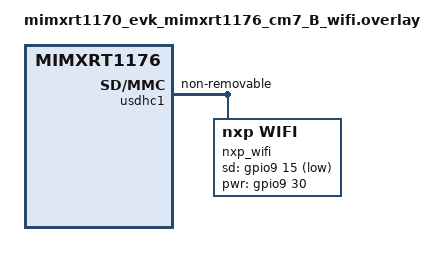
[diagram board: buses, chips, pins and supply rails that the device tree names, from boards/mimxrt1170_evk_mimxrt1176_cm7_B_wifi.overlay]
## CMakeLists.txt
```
# SPDX-FileCopyrightText: Copyright (c) 2026 Meta Platforms, Inc.
# SPDX-License-Identifier: Apache-2.0
cmake_minimum_required(VERSION 3.20.0)

find_package(Zephyr REQUIRED HINTS $ENV{ZEPHYR_BASE})
project(zephyrtc LANGUAGES C)

zephyr_include_directories(
  "${CMAKE_CURRENT_SOURCE_DIR}/config"
  "${CMAKE_CURRENT_SOURCE_DIR}/src"
)

target_sources(app PRIVATE
  src/main.c
  src/platform_zephyr.c
  src/fault_trace_zephyr.c
  src/libpeer_transport_probe.c
  src/libpeer_endpoint.c
)

if(CONFIG_ZEPHYRTC_AUDIO_RT1170)
  set(MCUX_TEMPSENSOR_DIR
      "${ZEPHYR_HAL_NXP_MODULE_DIR}/mcux/mcux-sdk-ng/drivers/tempsensor")
  set(MCUX_RT1170_POWER_DIR
      "${ZEPHYR_HAL_NXP_MODULE_DIR}/mcux/mcux-sdk-ng/devices/RT/RT1170/MIMXRT1176/drivers/power")
  target_include_directories(app PRIVATE
    "${MCUX_TEMPSENSOR_DIR}"
    "${MCUX_RT1170_POWER_DIR}"
  )
  target_sources(app PRIVATE
    src/media_rt1170_zephyr.c
    "${MCUX_TEMPSENSOR_DIR}/fsl_tempsensor.c"
    "${MCUX_RT1170_POWER_DIR}/fsl_soc_src.c"
  )
  # The SDK drivers do not build cleanly with the sample's warning flags.
  set_source_files_properties(
    "${MCUX_TEMPSENSOR_DIR}/fsl_tempsensor.c"
    "${MCUX_RT1170_POWER_DIR}/fsl_soc_src.c"
    PROPERTIES COMPILE_OPTIONS "-Wno-error"
  )
else()
  target_sources(app PRIVATE src/media_synthetic_zephyr.c)
endif()

target_sources_ifdef(CONFIG_ZEPHYRTC_MODE_LOOPBACK app PRIVATE
  src/libpeer_loopback.c
)
target_sources_ifdef(CONFIG_ZEPHYRTC_SIGNALING_CLIENT app PRIVATE
  src/signaling_client_zephyr.c
  src/libpeer_offerer.c
)
target_sources_ifdef(CONFIG_ZEPHYRTC_MODE_HTTP_SIGNALING app PRIVATE
  src/signaling_test_server.c
  src/signaling_tests.c
)
target_sources_ifdef(CONFIG_ZEPHYRTC_MODE_EXTERNAL app PRIVATE
  src/libpeer_external.c
)

if(CONFIG_ZEPHYRTC_VIDEO_H264)
  target_sources(app PRIVATE
    src/video_codec_zephyr.c
    src/video_color_zephyr.c
  )
  set_source_files_properties(src/video_codec_zephyr.c PROPERTIES
    COMPILE_OPTIONS "-Wno-unused-function;-Wno-sign-compare;-Wno-strict-prototypes"
  )
endif()

target_compile_options(app PRIVATE
  -Wall
  -Wextra
  -Wformat=2
  -Wmissing-prototypes
  -Wstrict-prototypes
  -Werror=implicit-function-declaration
  -Werror=incompatible-pointer-types
  -Werror=return-type
)
```

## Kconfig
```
# SPDX-FileCopyrightText: Copyright (c) 2026 Meta Platforms, Inc.
# SPDX-License-Identifier: Apache-2.0

mainmenu "zephyrtc"

# The decoder only has to accept the 320x240 stream the sample negotiates.
if ZEPHYRTC_VIDEO_H264

config H264SWDEC_HEAP_SIZE
	default 393216

config H264SWDEC_MAX_FRAME_WIDTH
	default 320

config H264SWDEC_MAX_FRAME_HEIGHT
	default 240

config H264SWDEC_MAX_FRAME_SIZE
	default 76800

endif # ZEPHYRTC_VIDEO_H264

source "Kconfig.zephyr"

menu "zephyrtc"

config ZEPHYRTC_TRANSPORT
	bool
	default y
	select LIBPEER
	help
	  Build libpeer and libsrtp against Zephyr's Mbed TLS integration and
	  run a bounded cryptographic initialization probe.

choice ZEPHYRTC_DEMO_MODE
	prompt "libpeer endpoint mode"
	default ZEPHYRTC_MODE_LOOPBACK
	help
	  Select the loopback, signaling-test, or external endpoint mode.

config ZEPHYRTC_MODE_LOOPBACK
	bool "In-process two-peer loopback"
	help
	  Two PeerConnections in one image exchange SDP directly, then complete host
	  ICE, DTLS-SRTP, and bidirectional PCMU RTP. This is the default gate.

config ZEPHYRTC_MODE_HTTP_SIGNALING
	bool "HTTP signaling client against an in-process mock answerer"
	depends on NET_SOCKETS && NET_TCP && NET_IPV4
	select ZEPHYRTC_SIGNALING_CLIENT
	help
	  Run the signaling failure matrix, then drive one PeerConnection as SDP
	  offerer through POST /offer to an in-process mock answerer over Zephyr
	  loopback TCP, and require the same ICE, DTLS-SRTP, and PCMU RTP result.

config ZEPHYRTC_MODE_EXTERNAL
	bool "External HTTP answerer"
	depends on NET_SOCKETS && NET_TCP && NET_UDP && NET_IPV4
	select ZEPHYRTC_SIGNALING_CLIENT
	help
	  POST one complete PCMU-only or H.264/PCMU offer to an external answerer,
	  apply the answer, complete ICE and DTLS-SRTP, then send the configured
	  bounded media sources and require sustained received media.

endchoice

config ZEPHYRTC_AUDIO_RT1170
	bool "RT1170 DMIC and WM8962 PCMU audio"
	depends on ZEPHYRTC_MODE_EXTERNAL
	depends on BOARD_MIMXRT1170_EVK_MIMXRT1176_CM7 && BOARD_REVISION_B
	depends on I2S && AUDIO_CODEC && AUDIO_DMIC
	help
	  Capture 16 kHz stereo samples from the RT1170 DMIC, downsample and encode
	  them as 8 kHz mono PCMU, and decode remote PCMU to the WM8962 playback path.

config ZEPHYRTC_VIDEO_H264
	bool "Software H.264 video with MiniH264 and H264SwDec"
	depends on ZEPHYRTC_MODE_EXTERNAL
	depends on !ZEPHYRTC_AUDIO_RT1170 || (VIDEO && DISPLAY)
	select MINIH264
	select H264SWDEC
	help
	  Enable 320x240 all-IDR MiniH264 and H264SwDec video. Synthetic media is used
	  for software gates; the RT1170 audio configuration uses the chosen camera
	  and display. Codec memory uses bounded static storage and a dedicated heap.

config ZEPHYRTC_DISPLAY_ROTATION
	int "Decoded-video display rotation in clockwise degrees"
	depends on ZEPHYRTC_VIDEO_H264 && ZEPHYRTC_AUDIO_RT1170
	range 0 270
	default 0
	help
	  Rotate decoded video clockwise before display. Valid values are 0, 90,
	  180, and 270 degrees. Other values fail at compile time.

config ZEPHYRTC_DISPLAY_SCALE
	int "Decoded-video integer display scale"
	depends on ZEPHYRTC_VIDEO_H264 && ZEPHYRTC_AUDIO_RT1170
	range 1 3
	default 1
	help
	  Upscale decoded video by this integer factor using nearest-neighbor
	  replication. The transformed image must fit the active display.

config ZEPHYRTC_SIGNALING_CLIENT
	bool
	help
	  Build the Zephyr socket client that POSTs one complete SDP offer and
	  validates one bounded complete SDP answer, and the libpeer offerer that
	  uses it. Select it from an application mode that needs an external peer.

config ZEPHYRTC_SIGNALING_TIMEOUT_MS
	int "Default total signaling deadline in milliseconds"
	depends on ZEPHYRTC_SIGNALING_CLIENT
	range 100 120000
	default 25000
	help
	  Covers connect, request write, and response read for one offer exchange.
	  Callers may pass a shorter deadline per request.

config ZEPHYRTC_SIGNALING_URL
	string "External SDP answerer URL"
	depends on ZEPHYRTC_MODE_EXTERNAL
	default "http://127.77.0.1:18080/offer"
	help
	  Complete HTTP URL accepted by the bounded signaling client. Only a dotted
	  IPv4 literal or localhost is supported; TLS and DNS are intentionally out
	  of scope for the bring-up endpoint.

config ZEPHYRTC_NETWORK_TIMEOUT_MS
	int "Network readiness deadline in milliseconds"
	depends on ZEPHYRTC_MODE_EXTERNAL
	range 1000 120000
	default 30000
	help
	  Wait this long for the default interface to acquire a preferred IPv4
	  address before creating the PeerConnection and gathering a host candidate.

config ZEPHYRTC_WIFI_SSID
	string "Wi-Fi station SSID"
	depends on ZEPHYRTC_MODE_EXTERNAL && WIFI
	default ""
	help
	  SSID used to associate the Wi-Fi station. Set this only from a private
	  EXTRA_CONF_FILE outside the source tree, such as the one
	  tools/rt1170_demo.py generates.

config ZEPHYRTC_WIFI_PASSWORD
	string "Wi-Fi station password"
	depends on ZEPHYRTC_MODE_EXTERNAL && WIFI
	default ""
	help
	  WPA2-PSK password for the Wi-Fi station. An empty value selects an open
	  network. Set this only from a private EXTRA_CONF_FILE outside the source
	  tree, such as the one tools/rt1170_demo.py generates.

config ZEPHYRTC_EXTERNAL_RUN_MS
	int "External connected-media validation time in milliseconds"
	depends on ZEPHYRTC_MODE_EXTERNAL
	range 5000 86400000
	default 12000
	help
	  Run external media validation for this connected interval. The maximum
	  supports soak tests lasting up to 24 hours.

config ZEPHYRTC_DEMO_RUN_MS
	int "native_sim synthetic media run time in milliseconds"
	range 4200 60000
	default 4200
	help
	  Run long enough to generate beeps beginning at 0, 2, and 4 seconds.

endmenu
```

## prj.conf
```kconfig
# SPDX-FileCopyrightText: Copyright (c) 2026 Meta Platforms, Inc.
# SPDX-License-Identifier: Apache-2.0

CONFIG_ASSERT=y
CONFIG_CONSOLE=y
CONFIG_LOG=y
CONFIG_LOG_DEFAULT_LEVEL=3
CONFIG_MAIN_STACK_SIZE=16384
CONFIG_PRINTK=y
CONFIG_REBOOT=n
CONFIG_TIMESLICING=n

CONFIG_HEAP_MEM_POOL_SIZE=32768
CONFIG_COMMON_LIBC_MALLOC_ARENA_SIZE=98304

CONFIG_NETWORKING=y
CONFIG_NET_DRIVERS=y
CONFIG_NET_IPV4=y
CONFIG_NET_LOOPBACK=y
CONFIG_NET_SOCKETS=y
CONFIG_NET_TCP=y
CONFIG_NET_UDP=y
CONFIG_POSIX_API=y

# native_sim-only entropy is configured in boards/native_sim_native_64.conf.

CONFIG_PSA_CRYPTO=y
CONFIG_PSA_WANT_ALG_ECDH=y
CONFIG_PSA_WANT_ALG_ECDSA=y
CONFIG_PSA_WANT_ALG_HMAC=y
CONFIG_PSA_WANT_ALG_SHA_1=y
CONFIG_PSA_WANT_ALG_SHA_256=y
CONFIG_PSA_WANT_ECC_SECP_R1_256=y
CONFIG_PSA_WANT_KEY_TYPE_ECC_KEY_PAIR_GENERATE=y
CONFIG_PSA_WANT_KEY_TYPE_HMAC=y

CONFIG_MBEDTLS=y
CONFIG_MBEDTLS_CIPHERSUITE_TLS_ECDHE_ECDSA_WITH_AES_128_GCM_SHA256=y
CONFIG_MBEDTLS_CTR_DRBG_C=y
CONFIG_MBEDTLS_ENTROPY_C=y
CONFIG_MBEDTLS_HAVE_TIME_DATE=y
CONFIG_MBEDTLS_PEM_PARSE_C=y
CONFIG_MBEDTLS_PEM_WRITE_C=y
CONFIG_MBEDTLS_PK_WRITE_C=y
CONFIG_MBEDTLS_SSL_EXTENDED_MASTER_SECRET=y
CONFIG_MBEDTLS_SSL_IN_CONTENT_LEN=4096
CONFIG_MBEDTLS_SSL_KEYING_MATERIAL_EXPORT=y
CONFIG_MBEDTLS_SSL_OUT_CONTENT_LEN=4096
CONFIG_MBEDTLS_SSL_PROTO_DTLS=y
CONFIG_MBEDTLS_SSL_PROTO_TLS1_2=y
CONFIG_MBEDTLS_USER_CONFIG_FILE="libpeer_mbedtls_user_config.h"
CONFIG_MBEDTLS_X509_CRT_PARSE_C=y
CONFIG_MBEDTLS_X509_CRT_WRITE_C=y
CONFIG_MBEDTLS_X509_CSR_WRITE_C=y

# libpeer: the application exchanges the session descriptions itself.
CONFIG_LIBPEER_SIGNALING=n
CONFIG_LIBPEER_DTLS_ECDSA=y
CONFIG_LIBPEER_STRICT_CHROME_PROFILE=y
CONFIG_LIBPEER_LOG_LEVEL=2
CONFIG_LIBPEER_LOG_REDIRECT=y
```

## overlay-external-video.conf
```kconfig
# SPDX-FileCopyrightText: Copyright (c) 2026 Meta Platforms, Inc.
# SPDX-License-Identifier: Apache-2.0

# Cross-process native_sim H.264/PCMU test over host-offloaded BSD sockets.
CONFIG_ZEPHYRTC_MODE_EXTERNAL=y
CONFIG_ZEPHYRTC_VIDEO_H264=y
CONFIG_ZEPHYRTC_SIGNALING_URL="http://127.0.0.1:18080/offer"
CONFIG_ZEPHYRTC_EXTERNAL_RUN_MS=12000

CONFIG_NET_LOOPBACK=n
CONFIG_ETH_NATIVE_TAP=n
CONFIG_NET_SOCKETS_OFFLOAD=y
CONFIG_NET_NATIVE_OFFLOADED_SOCKETS=y
CONFIG_NET_NATIVE_OFFLOADED_SOCKETS_HOST_IF_NAME="d0"
CONFIG_NET_IPV6=n
CONFIG_NET_IPV6_DAD=n
```

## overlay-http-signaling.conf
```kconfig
# SPDX-FileCopyrightText: Copyright (c) 2026 Meta Platforms, Inc.
# SPDX-License-Identifier: Apache-2.0

# Run the bounded HTTP signaling client against the in-process mock answerer.
# Build with: -DEXTRA_CONF_FILE=overlay-http-signaling.conf
CONFIG_ZEPHYRTC_MODE_HTTP_SIGNALING=y

# The failure matrix opens many short-lived loopback connections. Each case holds a listener, a
# client, and an accepted context, and the closing side lingers in TIME_WAIT.
CONFIG_NET_TCP_TIME_WAIT_DELAY=50
CONFIG_NET_MAX_CONTEXTS=12
CONFIG_NET_MAX_CONN=12

# The client accepts bounded SDP bodies up to 8095 bytes and 4096-byte header blocks, so the
# simulator needs packet buffers for several full TCP windows rather than the 2 KiB default.
CONFIG_NET_PKT_RX_COUNT=16
CONFIG_NET_PKT_TX_COUNT=16
CONFIG_NET_BUF_RX_COUNT=96
CONFIG_NET_BUF_TX_COUNT=96
```

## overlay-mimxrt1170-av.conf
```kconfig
# SPDX-FileCopyrightText: Copyright (c) 2026 Meta Platforms, Inc.
# SPDX-License-Identifier: Apache-2.0

# RT1170-EVKB physical Ethernet, audio, camera, and display endpoint. Override
# ZEPHYRTC_SIGNALING_URL at configure time with the Linux answerer's LAN address.
CONFIG_ZEPHYRTC_MODE_EXTERNAL=y
CONFIG_ZEPHYRTC_AUDIO_RT1170=y
CONFIG_ZEPHYRTC_VIDEO_H264=y
CONFIG_ZEPHYRTC_SIGNALING_URL="http://192.0.2.2:8080/offer"
CONFIG_ZEPHYRTC_EXTERNAL_RUN_MS=12000

CONFIG_LOG_BUFFER_SIZE=16384
CONFIG_LOG_PROCESS_THREAD_SLEEP_MS=10

CONFIG_NET_LOOPBACK=n
CONFIG_NET_L2_ETHERNET=y
CONFIG_NET_ARP=y
CONFIG_NET_DHCPV4=y
CONFIG_NET_CONFIG_SETTINGS=y
CONFIG_NET_CONFIG_NEED_IPV4=y

CONFIG_NET_PKT_RX_COUNT=16
CONFIG_NET_PKT_TX_COUNT=16
CONFIG_NET_BUF_RX_COUNT=64
CONFIG_NET_BUF_TX_COUNT=64
CONFIG_NET_MAX_CONTEXTS=8
CONFIG_NET_MAX_CONN=8

CONFIG_I2S=y
CONFIG_I2S_TX_BLOCK_COUNT=16
CONFIG_AUDIO=y
CONFIG_AUDIO_DMIC=y
CONFIG_DMIC_NXP_MICFIL_QUEUE_SIZE=16
CONFIG_AUDIO_CODEC=y
CONFIG_I3C=y

CONFIG_VIDEO=y
CONFIG_DISPLAY=y
CONFIG_VIDEO_BUFFER_POOL_HEAP_SIZE=256
CONFIG_VIDEO_BUFFER_POOL_NUM_MAX=2
CONFIG_MCUX_ELCDIF_FB_SIZE=1843200

CONFIG_MAIN_THREAD_PRIORITY=7

# The media workers report heap use in their periodic statistics.
CONFIG_SYS_HEAP_RUNTIME_STATS=y
```

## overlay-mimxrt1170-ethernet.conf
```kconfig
# SPDX-FileCopyrightText: Copyright (c) 2026 Meta Platforms, Inc.
# SPDX-License-Identifier: Apache-2.0

# RT1170-EVKB Ethernet bring-up. Override ZEPHYRTC_SIGNALING_URL at configure
# time with the Linux answerer's LAN IPv4 address.
CONFIG_ZEPHYRTC_MODE_EXTERNAL=y
CONFIG_ZEPHYRTC_AUDIO_RT1170=y
CONFIG_ZEPHYRTC_SIGNALING_URL="http://192.0.2.2:8080/offer"
CONFIG_ZEPHYRTC_EXTERNAL_RUN_MS=12000

CONFIG_NET_LOOPBACK=n
CONFIG_NET_L2_ETHERNET=y
CONFIG_NET_ARP=y
CONFIG_NET_DHCPV4=y
CONFIG_NET_CONFIG_SETTINGS=y
CONFIG_NET_CONFIG_NEED_IPV4=y

CONFIG_NET_PKT_RX_COUNT=16
CONFIG_NET_PKT_TX_COUNT=16
CONFIG_NET_BUF_RX_COUNT=64
CONFIG_NET_BUF_TX_COUNT=64
CONFIG_NET_MAX_CONTEXTS=8
CONFIG_NET_MAX_CONN=8

CONFIG_I2S=y
CONFIG_AUDIO=y
CONFIG_AUDIO_DMIC=y
CONFIG_AUDIO_CODEC=y
CONFIG_I3C=y
```

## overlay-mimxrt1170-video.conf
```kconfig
# SPDX-FileCopyrightText: Copyright (c) 2026 Meta Platforms, Inc.
# SPDX-License-Identifier: Apache-2.0

# RT1170-EVKB Ethernet software-codec gate. Synthetic audio/video isolates the
# MiniH264, H264SwDec, and RTP path before camera/display integration.
CONFIG_ZEPHYRTC_MODE_EXTERNAL=y
CONFIG_ZEPHYRTC_VIDEO_H264=y
CONFIG_ZEPHYRTC_SIGNALING_URL="http://192.0.2.2:8080/offer"
CONFIG_ZEPHYRTC_EXTERNAL_RUN_MS=12000

CONFIG_NET_LOOPBACK=n
CONFIG_NET_L2_ETHERNET=y
CONFIG_NET_ARP=y
CONFIG_NET_DHCPV4=y
CONFIG_NET_CONFIG_SETTINGS=y
CONFIG_NET_CONFIG_NEED_IPV4=y

CONFIG_NET_PKT_RX_COUNT=16
CONFIG_NET_PKT_TX_COUNT=16
CONFIG_NET_BUF_RX_COUNT=64
CONFIG_NET_BUF_TX_COUNT=64
CONFIG_NET_MAX_CONTEXTS=8
CONFIG_NET_MAX_CONN=8
```

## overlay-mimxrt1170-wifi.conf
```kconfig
# SPDX-FileCopyrightText: Copyright (c) 2026 Meta Platforms, Inc.
# SPDX-License-Identifier: Apache-2.0

# MIMXRT1170-EVKB Embedded Artists 2EL (NXP IW612) Wi-Fi transport.
# Use it on top of overlay-mimxrt1170-av.conf. The Wi-Fi credentials belong in
# a mode-0600 EXTRA_CONF_FILE outside the source tree.
CONFIG_WIFI=y
CONFIG_WIFI_NXP=y
CONFIG_NXP_IW61X=y
CONFIG_NXP_IW612_MURATA_2EL_M2=y
CONFIG_NXP_WIFI_STA_RECONNECT=y
CONFIG_NXP_WIFI_AUTO_POWER_SAVE=n

# The NXP Wi-Fi driver presents an Ethernet-compatible L2 interface. Disable
# the wired MAC driver so the Wi-Fi interface is the default interface.
CONFIG_ETH_DRIVER=n
CONFIG_NET_L2_ETHERNET=y
CONFIG_NET_L2_WIFI_MGMT=y
CONFIG_NET_MGMT=y
CONFIG_NET_MGMT_EVENT=y
CONFIG_NET_IF_MAX_IPV4_COUNT=2

# A browser H.264 IDR picture can arrive as twelve full-size FU-A RTP packets.
# Each 1300-byte packet consumes about eleven 128-byte net_buf fragments, so the
# inherited 64-fragment pool drops the IDR before libpeer can reassemble it.
CONFIG_NET_PKT_RX_COUNT=32
CONFIG_NET_BUF_RX_COUNT=256

# The IW612 driver and firmware loader allocate from the system heap.
CONFIG_HEAP_MEM_POOL_SIZE=262144

# NXP association callbacks perform SDIO transfers on Zephyr's network
# management work queue. Use the stack size from NXP Wi-Fi board samples.
CONFIG_NET_MGMT_EVENT_STACK_SIZE=4608
```

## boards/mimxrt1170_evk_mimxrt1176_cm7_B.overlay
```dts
/*
 * SPDX-FileCopyrightText: Copyright (c) 2026 Meta Platforms, Inc.
 * SPDX-License-Identifier: Apache-2.0
 */

/ {
	aliases {
		dmic0 = &dmic_dev;
	};
};

&sai1 {
	mclk-output;
};

dmic_dev: &micfil {
	channel0: micfil-channel@0 {
		status = "okay";
	};

	channel1: micfil-channel@1 {
		status = "okay";
	};
};
```

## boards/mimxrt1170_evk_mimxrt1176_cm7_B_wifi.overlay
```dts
/*
 * SPDX-FileCopyrightText: Copyright (c) 2026 Meta Platforms, Inc.
 * SPDX-License-Identifier: Apache-2.0
 */

/*
 * MIMXRT1170-EVKB J54 M.2 Wi-Fi path for the Embedded Artists 2EL
 * module (Murata LBES5PL2EL, NXP IW612). J54 shares USDHC1 with the
 * microSD interface, so the Wi-Fi image disables the SD-card child.
 */
&lpspi1 {
	status = "disabled";
};

&usdhc1 {
	status = "okay";
	non-removable;
	no-3-3-v;
	no-3-0-v;
	/delete-property/ detect-dat3;
	/delete-property/ pwr-gpios;
	pinctrl-0 = <&pinmux_usdhc1>;
	pinctrl-1 = <&pinmux_usdhc1>;
	pinctrl-2 = <&pinmux_usdhc1>;
	pinctrl-3 = <&pinmux_usdhc1>;
	pinctrl-names = "default", "slow", "med", "fast";

	sdmmc {
		status = "disabled";
	};

	nxp_wifi {
		compatible = "nxp,wifi";
		sd-gpios = <&gpio9 15 GPIO_ACTIVE_LOW>;
		pwr-gpios = <&gpio9 30 GPIO_ACTIVE_HIGH>;
		status = "okay";
	};
};
```

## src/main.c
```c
/* SPDX-FileCopyrightText: Copyright (c) 2026 Meta Platforms, Inc. */
/* SPDX-License-Identifier: Apache-2.0 */
#include <inttypes.h>
#include <stdbool.h>
#include <stddef.h>
#include <stdint.h>
#include <zephyr/kernel.h>
#include <zephyr/sys/util.h>

#if defined(CONFIG_SOC_MIMXRT1176_CM7)
#include <fsl_soc_src.h>
#endif

#ifdef CONFIG_ARCH_POSIX
#include "posix_board_if.h"
#endif

#include "libpeer_transport_probe.h"
#include "media.h"
#include "media_stats_zephyr.h"
#include "platform.h"

#if defined(CONFIG_ZEPHYRTC_MODE_EXTERNAL)
#include "libpeer_external.h"
#elif defined(CONFIG_ZEPHYRTC_MODE_HTTP_SIGNALING)
#include "signaling_tests.h"
#else
#include "libpeer_loopback.h"
#endif

#define FNV_OFFSET        UINT32_C(2166136261)
#define FNV_PRIME         UINT32_C(16777619)
#define AUDIO_FRAME_BYTES 160U
#define AUDIO_DURATION_NS UINT64_C(20000000)

static uint32_t checksum_frame(uint32_t checksum, const MediaFrame *frame)
{
	for (size_t i = 0; i < frame->size; ++i) {
		checksum ^= frame->data[i];
		checksum *= FNV_PRIME;
	}
	return checksum;
}

static bool frame_is_active(const MediaFrame *frame)
{
	for (size_t i = 0; i < frame->size; ++i) {
		if (frame->data[i] != UINT8_C(0xff)) {
			return true;
		}
	}
	return false;
}

static int application_exit(int result)
{
#ifdef CONFIG_ARCH_POSIX
	posix_exit(result);
#endif
	return result;
}

int main(void)
{
	const MediaConfig config = {
		.test_sources = true,
		.fake_sinks = true,
		.audio_only = true,
	};
	const uint64_t minimum_frames = (uint64_t)CONFIG_ZEPHYRTC_DEMO_RUN_MS / 20U - 2U;
	uint64_t start;
	uint64_t deadline;
	uint64_t frames = 0U;
	uint64_t active_frames = 0U;
	uint64_t last_timestamp = 0U;
	uint32_t checksum = FNV_OFFSET;
	bool have_timestamp = false;
	int result = 0;
	Media *media;
#if defined(CONFIG_SOC_MIMXRT1176_CM7)
	const uint32_t reset_status = SRC_GetResetStatusFlags(SRC);
#endif

	platform_log("info", "native_sim_start", "run_ms=%d", CONFIG_ZEPHYRTC_DEMO_RUN_MS);
#if defined(CONFIG_SOC_MIMXRT1176_CM7)
	platform_log("info", "reset_status", "srsr=%08x", (unsigned int)reset_status);
	SRC_ClearGlobalSystemResetStatus(SRC, reset_status);
	platform_log("info", "reset_status_cleared", "srsr=%08x",
		     (unsigned int)SRC_GetResetStatusFlags(SRC));
#endif
	if (libpeer_transport_probe() != 0) {
		return application_exit(1);
	}
#if defined(CONFIG_ZEPHYRTC_MODE_EXTERNAL)
	if (libpeer_external_run() != 0) {
		return application_exit(1);
	}
	return application_exit(0);
#elif defined(CONFIG_ZEPHYRTC_MODE_HTTP_SIGNALING)
	if (libpeer_signaling_tests_run() != 0) {
		return application_exit(1);
	}
#else
	if (libpeer_loopback_run() != 0) {
		return application_exit(1);
	}
#endif
	media = media_create(&config);
	if (media == NULL || media_start(media) != 0) {
		platform_log("error", "media_start", "failed");
		return application_exit(1);
	}
	start = platform_now_ms();
	deadline = start + CONFIG_ZEPHYRTC_DEMO_RUN_MS;

	while (platform_now_ms() < deadline) {
		MediaFrame frame;

		if (media_poll(media) != 0) {
			platform_log("error", "media_poll", "failed");
			result = 1;
			break;
		}
		if (!media_pull(media, MEDIA_AUDIO, &frame)) {
			platform_sleep_ms(1U);
			continue;
		}
		if (frame.size != AUDIO_FRAME_BYTES || frame.duration_ns != AUDIO_DURATION_NS ||
		    (have_timestamp && frame.timestamp_ns <= last_timestamp)) {
			platform_log("error", "frame_contract",
				     "size=%zu timestamp=%" PRIu64 " duration=%" PRIu64, frame.size,
				     frame.timestamp_ns, frame.duration_ns);
			result = 1;
			media_release(media, MEDIA_AUDIO);
			break;
		}
		frames++;
		if (frame_is_active(&frame)) {
			active_frames++;
		}
		checksum = checksum_frame(checksum, &frame);
		last_timestamp = frame.timestamp_ns;
		have_timestamp = true;
		media_release(media, MEDIA_AUDIO);
	}

	if (frames < minimum_frames || active_frames < 15U ||
	    media_zephyr_generated_audio() != frames || media_zephyr_late_audio() != 0U ||
	    checksum == FNV_OFFSET) {
		result = 1;
	}
	platform_log(result == 0 ? "info" : "error", "native_sim_result",
		     "status=%s frames=%" PRIu64 " active=%" PRIu64 " late=%" PRIu64
		     " checksum=%08" PRIx32,
		     result == 0 ? "pass" : "fail", frames, active_frames,
		     media_zephyr_late_audio(), checksum);
	media_destroy(media);
	return application_exit(result);
}
```

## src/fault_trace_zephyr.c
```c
/* SPDX-FileCopyrightText: Copyright (c) 2026 Meta Platforms, Inc. */
/* SPDX-License-Identifier: Apache-2.0 */
#include "fault_trace_zephyr.h"

#include <stdint.h>
#if defined(CONFIG_ARM)
#include <zephyr/arch/cpu.h>
#endif
#include <zephyr/fatal.h>
#include <zephyr/kernel.h>
#include <zephyr/linker/section_tags.h>
#include <zephyr/sys/printk.h>

struct fault_snapshot_zephyr {
	uint32_t magic;
	uint32_t reason;
	uintptr_t esf;
	uintptr_t thread;
	uint32_t r0;
	uint32_t r1;
	uint32_t r2;
	uint32_t r3;
	uint32_t r12;
	uint32_t lr;
	uint32_t pc;
	uint32_t xpsr;
	uint32_t msp;
	uint32_t psp;
	uint32_t control;
	uint32_t primask;
	uint32_t basepri;
	uint32_t faultmask;
	uint32_t cfsr;
	uint32_t hfsr;
	uint32_t mmfar;
	uint32_t bfar;
	uint32_t shcsr;
	uint32_t icsr;
};

/* DTCM keeps the snapshot outside the caches; native_sim has no DTCM. */
#if defined(CONFIG_ARM)
#define FAULT_SNAPSHOT_SECTION __dtcm_data_section
#else
#define FAULT_SNAPSHOT_SECTION
#endif

volatile struct fault_snapshot_zephyr fault_snapshot_zephyr FAULT_SNAPSHOT_SECTION;

void k_sys_fatal_error_handler(unsigned int reason, const struct arch_esf *esf)
{
#if defined(CONFIG_ARM)
	const uintptr_t msp = __get_MSP();
	const uintptr_t psp = __get_PSP();

	fault_snapshot_zephyr.magic = UINT32_C(0x4641554c);
	fault_snapshot_zephyr.reason = reason;
	fault_snapshot_zephyr.esf = (uintptr_t)esf;
	fault_snapshot_zephyr.thread = (uintptr_t)k_current_get();
	if (esf != NULL) {
		fault_snapshot_zephyr.r0 = esf->basic.r0;
		fault_snapshot_zephyr.r1 = esf->basic.r1;
		fault_snapshot_zephyr.r2 = esf->basic.r2;
		fault_snapshot_zephyr.r3 = esf->basic.r3;
		fault_snapshot_zephyr.r12 = esf->basic.r12;
		fault_snapshot_zephyr.lr = esf->basic.lr;
		fault_snapshot_zephyr.pc = esf->basic.pc;
		fault_snapshot_zephyr.xpsr = esf->basic.xpsr;
	}
	fault_snapshot_zephyr.msp = msp;
	fault_snapshot_zephyr.psp = psp;
	fault_snapshot_zephyr.control = __get_CONTROL();
	fault_snapshot_zephyr.primask = __get_PRIMASK();
	fault_snapshot_zephyr.basepri = __get_BASEPRI();
	fault_snapshot_zephyr.faultmask = __get_FAULTMASK();
	fault_snapshot_zephyr.cfsr = SCB->CFSR;
	fault_snapshot_zephyr.hfsr = SCB->HFSR;
	fault_snapshot_zephyr.mmfar = SCB->MMFAR;
	fault_snapshot_zephyr.bfar = SCB->BFAR;
	fault_snapshot_zephyr.shcsr = SCB->SHCSR;
	fault_snapshot_zephyr.icsr = SCB->ICSR;
	__DSB();

	printk("event=fault reason=%u esf=%p thread=%p\n", reason, (const void *)esf,
	       (const void *)k_current_get());
	if (esf != NULL) {
		printk("event=fault_regs r0=%08x r1=%08x r2=%08x r3=%08x\n",
		       (unsigned int)esf->basic.r0, (unsigned int)esf->basic.r1,
		       (unsigned int)esf->basic.r2, (unsigned int)esf->basic.r3);
		printk("event=fault_regs r12=%08x lr=%08x pc=%08x xpsr=%08x\n",
		       (unsigned int)esf->basic.r12, (unsigned int)esf->basic.lr,
		       (unsigned int)esf->basic.pc, (unsigned int)esf->basic.xpsr);
	}
	printk("event=fault_state msp=%08x psp=%08x control=%08x primask=%08x "
	       "basepri=%08x faultmask=%08x\n",
	       (unsigned int)msp, (unsigned int)psp, (unsigned int)__get_CONTROL(),
	       (unsigned int)__get_PRIMASK(), (unsigned int)__get_BASEPRI(),
	       (unsigned int)__get_FAULTMASK());
	printk("event=fault_scb cfsr=%08x hfsr=%08x mmfar=%08x bfar=%08x "
	       "shcsr=%08x icsr=%08x\n",
	       (unsigned int)SCB->CFSR, (unsigned int)SCB->HFSR, (unsigned int)SCB->MMFAR,
	       (unsigned int)SCB->BFAR, (unsigned int)SCB->SHCSR, (unsigned int)SCB->ICSR);
#else
	printk("event=fault reason=%u esf=%p thread=%p\n", reason, (const void *)esf,
	       (const void *)k_current_get());
#endif
	k_fatal_halt(reason);
	CODE_UNREACHABLE;
}
```

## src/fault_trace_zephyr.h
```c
/* SPDX-FileCopyrightText: Copyright (c) 2026 Meta Platforms, Inc. */
/* SPDX-License-Identifier: Apache-2.0 */
#ifndef ZEPHYRTC_FAULT_TRACE_ZEPHYR_H_
#define ZEPHYRTC_FAULT_TRACE_ZEPHYR_H_

/* k_sys_fatal_error_handler override in fault_trace_zephyr.c. No API. */

#endif /* ZEPHYRTC_FAULT_TRACE_ZEPHYR_H_ */
```

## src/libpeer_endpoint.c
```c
/* SPDX-FileCopyrightText: Copyright (c) 2026 Meta Platforms, Inc. */
/* SPDX-License-Identifier: Apache-2.0 */
#include "libpeer_endpoint.h"

#include <errno.h>
#include <string.h>

#include "platform.h"

int peer_init(void);
void peer_deinit(void);

int libpeer_stack_init(void)
{
	return peer_init();
}

void libpeer_stack_deinit(void)
{
	peer_deinit();
}

static void state_changed(PeerConnectionState state, void *user_data)
{
	struct libpeer_endpoint *endpoint = user_data;

	atomic_set(&endpoint->state, (atomic_val_t)state);
	platform_log("info", "endpoint_state", "peer=%s state=%s", endpoint->name,
		     peer_connection_state_to_string(state));
}

static void audio_received(uint8_t *data, size_t size, void *user_data)
{
	struct libpeer_endpoint *endpoint = user_data;
	bool valid = size == ZEPHYRTC_ENDPOINT_AUDIO_BYTES;

	for (size_t index = 0U; endpoint->validate_pattern && valid && index < size; index++) {
		if (data[index] != endpoint->expected_byte) {
			valid = false;
		}
	}
	if (!valid) {
		atomic_inc(&endpoint->invalid_frames);
		return;
	}
	atomic_inc(&endpoint->received_frames);
	atomic_add(&endpoint->received_bytes, (atomic_val_t)size);
	if (endpoint->audio_sink != NULL) {
		endpoint->audio_sink(data, size, endpoint->audio_sink_user_data);
	}
}

static void video_received(uint8_t *data, size_t size, void *user_data)
{
	struct libpeer_endpoint *endpoint = user_data;

	if (!endpoint->video_enabled || data == NULL || size == 0U ||
	    size > ZEPHYRTC_ENDPOINT_VIDEO_BYTES) {
		atomic_inc(&endpoint->invalid_frames);
		return;
	}
	atomic_inc(&endpoint->received_video_nalus);
	atomic_add(&endpoint->received_video_bytes, (atomic_val_t)size);
	if (endpoint->video_sink != NULL) {
		endpoint->video_sink(data, size, endpoint->video_sink_user_data);
	}
}

static void keyframe_requested(void *user_data)
{
	struct libpeer_endpoint *endpoint = user_data;

	if (endpoint->keyframe_request != NULL) {
		endpoint->keyframe_request(endpoint->video_sink_user_data);
	}
}

static void endpoint_loop(void *endpoint_arg, void *unused_1, void *unused_2)
{
	struct libpeer_endpoint *endpoint = endpoint_arg;

	ARG_UNUSED(unused_1);
	ARG_UNUSED(unused_2);
	while (atomic_get(&endpoint->stop) == 0) {
		struct libpeer_audio_frame frame;
		struct libpeer_video_frame *video;

		if (k_msgq_get(&endpoint->tx_queue, &frame, K_NO_WAIT) == 0 &&
		    peer_connection_send_audio(endpoint->connection, frame.data,
					       sizeof(frame.data)) != 0) {
			atomic_inc(&endpoint->send_failures);
		}
		if (endpoint->video_enabled && atomic_cas(&endpoint->keyframe_requests, 1, 0) &&
		    peer_connection_request_keyframe(endpoint->connection) != 0) {
			atomic_inc(&endpoint->send_failures);
		}
		if (endpoint->video_enabled &&
		    k_msgq_get(&endpoint->video_tx_queue, &video, K_NO_WAIT) == 0) {
			if (peer_connection_send_video(endpoint->connection, video->data,
						       video->size) != 0) {
				atomic_inc(&endpoint->send_failures);
			}
			(void)k_msgq_put(&endpoint->video_free_queue, &video, K_FOREVER);
		}
		(void)peer_connection_loop(endpoint->connection);
		k_sleep(K_MSEC(1));
	}
}

static void reset_video_queues(struct libpeer_endpoint *endpoint)
{
	k_msgq_purge(&endpoint->video_tx_queue);
	k_msgq_purge(&endpoint->video_free_queue);
	for (size_t index = 0U; index < ZEPHYRTC_ENDPOINT_VIDEO_QUEUE_DEPTH; index++) {
		struct libpeer_video_frame *frame = &endpoint->video_storage[index];

		(void)k_msgq_put(&endpoint->video_free_queue, &frame, K_NO_WAIT);
	}
}

int libpeer_endpoint_init(struct libpeer_endpoint *endpoint, const char *name, uint8_t send_byte,
			  uint8_t expected_byte, bool validate_pattern, bool video_enabled)
{
	PeerConfiguration configuration = {0};

	memset(endpoint, 0, sizeof(*endpoint));
	k_msgq_init(&endpoint->tx_queue, endpoint->tx_queue_buffer,
		    sizeof(struct libpeer_audio_frame), ZEPHYRTC_ENDPOINT_TX_QUEUE_DEPTH);
	k_msgq_init(&endpoint->video_tx_queue, endpoint->video_tx_queue_buffer,
		    sizeof(struct libpeer_video_frame *), ZEPHYRTC_ENDPOINT_VIDEO_QUEUE_DEPTH);
	k_msgq_init(&endpoint->video_free_queue, endpoint->video_free_queue_buffer,
		    sizeof(struct libpeer_video_frame *), ZEPHYRTC_ENDPOINT_VIDEO_QUEUE_DEPTH);
	reset_video_queues(endpoint);
	endpoint->name = name;
	endpoint->send_byte = send_byte;
	endpoint->expected_byte = expected_byte;
	endpoint->validate_pattern = validate_pattern;
	endpoint->video_enabled = video_enabled;
	atomic_set(&endpoint->state, PEER_CONNECTION_NEW);

	configuration.audio_codec = CODEC_PCMU;
	configuration.video_codec = video_enabled ? CODEC_H264 : CODEC_NONE;
	configuration.datachannel = DATA_CHANNEL_NONE;
	configuration.onaudiotrack = audio_received;
	if (video_enabled) {
		configuration.onvideotrack = video_received;
		configuration.on_request_keyframe = keyframe_requested;
	}
	configuration.user_data = endpoint;
	endpoint->connection = peer_connection_create(&configuration);
	if (endpoint->connection == NULL) {
		return -ENOMEM;
	}
	peer_connection_oniceconnectionstatechange(endpoint->connection, state_changed);
	return 0;
}

int libpeer_endpoint_start(struct libpeer_endpoint *endpoint, k_thread_stack_t *stack,
			   size_t stack_size)
{
	k_msgq_purge(&endpoint->tx_queue);
	reset_video_queues(endpoint);
	atomic_set(&endpoint->send_failures, 0);
	atomic_set(&endpoint->keyframe_requests, 0);
	atomic_set(&endpoint->stop, 0);
	(void)k_thread_create(&endpoint->thread, stack, stack_size, endpoint_loop, endpoint, NULL,
			      NULL, ZEPHYRTC_ENDPOINT_THREAD_PRIO, 0, K_NO_WAIT);
	endpoint->thread_started = true;
	return 0;
}

int libpeer_endpoint_set_audio_sink(struct libpeer_endpoint *endpoint,
				    libpeer_endpoint_audio_sink_fn sink, void *user_data)
{
	if (endpoint == NULL || endpoint->thread_started) {
		return -EINVAL;
	}
	endpoint->audio_sink = sink;
	endpoint->audio_sink_user_data = user_data;
	return 0;
}

int libpeer_endpoint_set_video_sink(struct libpeer_endpoint *endpoint,
				    libpeer_endpoint_video_sink_fn sink,
				    libpeer_endpoint_keyframe_fn keyframe_request, void *user_data)
{
	if (endpoint == NULL || endpoint->thread_started || !endpoint->video_enabled) {
		return -EINVAL;
	}
	endpoint->video_sink = sink;
	endpoint->keyframe_request = keyframe_request;
	endpoint->video_sink_user_data = user_data;
	return 0;
}

int libpeer_endpoint_send_audio(struct libpeer_endpoint *endpoint, const uint8_t *data, size_t size)
{
	struct libpeer_audio_frame frame;

	if (endpoint == NULL || data == NULL || size != sizeof(frame.data) ||
	    !endpoint->thread_started) {
		return -EINVAL;
	}
	memcpy(frame.data, data, sizeof(frame.data));
	if (k_msgq_put(&endpoint->tx_queue, &frame, K_MSEC(20)) != 0) {
		return -ENOBUFS;
	}
	return 0;
}

int libpeer_endpoint_send_video(struct libpeer_endpoint *endpoint, const uint8_t *data, size_t size)
{
	struct libpeer_video_frame *frame;

	if (endpoint == NULL || data == NULL || size == 0U ||
	    size > ZEPHYRTC_ENDPOINT_VIDEO_BYTES || !endpoint->thread_started ||
	    !endpoint->video_enabled) {
		return -EINVAL;
	}
	if (k_msgq_get(&endpoint->video_free_queue, &frame, K_MSEC(50)) != 0) {
		return -ENOBUFS;
	}
	frame->size = size;
	memcpy(frame->data, data, size);
	if (k_msgq_put(&endpoint->video_tx_queue, &frame, K_NO_WAIT) != 0) {
		(void)k_msgq_put(&endpoint->video_free_queue, &frame, K_NO_WAIT);
		return -ENOBUFS;
	}
	return 0;
}

int libpeer_endpoint_request_keyframe(struct libpeer_endpoint *endpoint)
{
	if (endpoint == NULL || endpoint->connection == NULL || !endpoint->thread_started ||
	    !endpoint->video_enabled) {
		return -EINVAL;
	}
	atomic_set(&endpoint->keyframe_requests, 1);
	return 0;
}

void libpeer_endpoint_stop(struct libpeer_endpoint *endpoint)
{
	if (!endpoint->thread_started) {
		return;
	}
	atomic_set(&endpoint->stop, 1);
	if (k_thread_join(&endpoint->thread, K_SECONDS(5)) != 0) {
		k_thread_abort(&endpoint->thread);
	}
	endpoint->thread_started = false;
}

void libpeer_endpoint_destroy(struct libpeer_endpoint *endpoint)
{
	libpeer_endpoint_stop(endpoint);
	if (endpoint->connection != NULL) {
		peer_connection_close(endpoint->connection);
		peer_connection_destroy(endpoint->connection);
		endpoint->connection = NULL;
	}
}

bool libpeer_endpoint_failed(const struct libpeer_endpoint *endpoint)
{
	return atomic_get(&endpoint->state) == PEER_CONNECTION_FAILED ||
	       atomic_get(&endpoint->send_failures) != 0;
}

int libpeer_endpoint_wait_connected(struct libpeer_endpoint *endpoint, uint32_t timeout_ms)
{
	int64_t deadline = k_uptime_get() + timeout_ms;

	while (k_uptime_get() < deadline) {
		if (atomic_get(&endpoint->state) == PEER_CONNECTION_CONNECTED) {
			return 0;
		}
		if (libpeer_endpoint_failed(endpoint)) {
			return -ECONNABORTED;
		}
		k_sleep(K_MSEC(10));
	}
	return -ETIMEDOUT;
}

static bool pair_failed(const struct libpeer_endpoint *first, const struct libpeer_endpoint *second)
{
	return libpeer_endpoint_failed(first) || libpeer_endpoint_failed(second);
}

int libpeer_pair_wait_connected(struct libpeer_endpoint *first, struct libpeer_endpoint *second)
{
	int64_t deadline = k_uptime_get() + ZEPHYRTC_CONNECT_TIMEOUT_MS;

	while (k_uptime_get() < deadline) {
		if (atomic_get(&first->state) == PEER_CONNECTION_CONNECTED &&
		    atomic_get(&second->state) == PEER_CONNECTION_CONNECTED) {
			return 0;
		}
		if (pair_failed(first, second)) {
			return -ECONNABORTED;
		}
		k_sleep(K_MSEC(10));
	}
	return -ETIMEDOUT;
}

int libpeer_pair_exchange_audio(struct libpeer_endpoint *first, struct libpeer_endpoint *second)
{
	uint8_t first_audio[ZEPHYRTC_ENDPOINT_AUDIO_BYTES];
	uint8_t second_audio[ZEPHYRTC_ENDPOINT_AUDIO_BYTES];
	int64_t deadline;

	memset(first_audio, first->send_byte, sizeof(first_audio));
	memset(second_audio, second->send_byte, sizeof(second_audio));
	for (int frame = 0; frame < ZEPHYRTC_ENDPOINT_AUDIO_FRAMES; frame++) {
		if (libpeer_endpoint_send_audio(first, first_audio, sizeof(first_audio)) != 0 ||
		    libpeer_endpoint_send_audio(second, second_audio, sizeof(second_audio)) != 0) {
			return -EIO;
		}
		k_sleep(K_MSEC(20));
	}

	deadline = k_uptime_get() + ZEPHYRTC_MEDIA_TIMEOUT_MS;
	while (k_uptime_get() < deadline) {
		if (atomic_get(&first->received_frames) >= ZEPHYRTC_ENDPOINT_AUDIO_FRAMES &&
		    atomic_get(&second->received_frames) >= ZEPHYRTC_ENDPOINT_AUDIO_FRAMES) {
			return 0;
		}
		if (pair_failed(first, second)) {
			return -ECONNABORTED;
		}
		k_sleep(K_MSEC(10));
	}
	return -ETIMEDOUT;
}
```

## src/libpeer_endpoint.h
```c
/* SPDX-FileCopyrightText: Copyright (c) 2026 Meta Platforms, Inc. */
/* SPDX-License-Identifier: Apache-2.0 */
#ifndef ZEPHYRTC_ZEPHYR_ENDPOINT_H_
#define ZEPHYRTC_ZEPHYR_ENDPOINT_H_

#include <peer_connection.h>
#include <stdbool.h>
#include <stddef.h>
#include <stdint.h>
#include <zephyr/kernel.h>
#include <zephyr/sys/atomic.h>

#define ZEPHYRTC_ENDPOINT_AUDIO_BYTES       160U
#define ZEPHYRTC_ENDPOINT_AUDIO_FRAMES      25
#define ZEPHYRTC_ENDPOINT_TX_QUEUE_DEPTH    16U
#define ZEPHYRTC_ENDPOINT_VIDEO_BYTES       32768U
#define ZEPHYRTC_ENDPOINT_VIDEO_QUEUE_DEPTH 4U
#define ZEPHYRTC_ENDPOINT_STACK_SIZE        16384U
#define ZEPHYRTC_CONNECT_TIMEOUT_MS         15000U
#define ZEPHYRTC_MEDIA_TIMEOUT_MS           5000U
#define ZEPHYRTC_ENDPOINT_THREAD_PRIO       K_PRIO_PREEMPT(5)

/*
 * One libpeer PCMU PeerConnection plus its loop thread and received-audio
 * accounting. The connection is not thread safe: exactly one thread may call
 * into it at a time. The owner uses it until libpeer_endpoint_start(), after
 * which only the loop thread does.
 */
struct libpeer_audio_frame {
	uint8_t data[ZEPHYRTC_ENDPOINT_AUDIO_BYTES];
};

struct libpeer_video_frame {
	size_t size;
	uint8_t data[ZEPHYRTC_ENDPOINT_VIDEO_BYTES];
};

typedef void (*libpeer_endpoint_audio_sink_fn)(const uint8_t *data, size_t size, void *user_data);
typedef void (*libpeer_endpoint_video_sink_fn)(const uint8_t *data, size_t size, void *user_data);
typedef void (*libpeer_endpoint_keyframe_fn)(void *user_data);

struct libpeer_endpoint {
	PeerConnection *connection;
	const char *name;
	uint8_t send_byte;
	uint8_t expected_byte;
	bool validate_pattern;
	libpeer_endpoint_audio_sink_fn audio_sink;
	libpeer_endpoint_video_sink_fn video_sink;
	libpeer_endpoint_keyframe_fn keyframe_request;
	void *audio_sink_user_data;
	void *video_sink_user_data;
	bool video_enabled;
	atomic_t state;
	atomic_t stop;
	atomic_t received_frames;
	atomic_t received_bytes;
	atomic_t received_video_nalus;
	atomic_t received_video_bytes;
	atomic_t invalid_frames;
	atomic_t send_failures;
	atomic_t keyframe_requests;
	struct k_msgq tx_queue;
	char tx_queue_buffer[ZEPHYRTC_ENDPOINT_TX_QUEUE_DEPTH * sizeof(struct libpeer_audio_frame)]
		__aligned(4);
	struct k_msgq video_tx_queue;
	char video_tx_queue_buffer[ZEPHYRTC_ENDPOINT_VIDEO_QUEUE_DEPTH *
				   sizeof(struct libpeer_video_frame *)] __aligned(sizeof(void *));
	struct k_msgq video_free_queue;
	char video_free_queue_buffer[ZEPHYRTC_ENDPOINT_VIDEO_QUEUE_DEPTH *
				     sizeof(struct libpeer_video_frame *)]
		__aligned(sizeof(void *));
	struct libpeer_video_frame video_storage[ZEPHYRTC_ENDPOINT_VIDEO_QUEUE_DEPTH];
	struct k_thread thread;
	bool thread_started;
};

/* Initialize libpeer, libSRTP, and the DTLS-SRTP stack once per run. */
int libpeer_stack_init(void);
void libpeer_stack_deinit(void);

/* Create a PCMU-only connection. Pattern validation is optional for real peers.
 */
int libpeer_endpoint_init(struct libpeer_endpoint *endpoint, const char *name, uint8_t send_byte,
			  uint8_t expected_byte, bool validate_pattern, bool video_enabled);
int libpeer_endpoint_start(struct libpeer_endpoint *endpoint, k_thread_stack_t *stack,
			   size_t stack_size);
int libpeer_endpoint_set_audio_sink(struct libpeer_endpoint *endpoint,
				    libpeer_endpoint_audio_sink_fn sink, void *user_data);
int libpeer_endpoint_set_video_sink(struct libpeer_endpoint *endpoint,
				    libpeer_endpoint_video_sink_fn sink,
				    libpeer_endpoint_keyframe_fn keyframe_request, void *user_data);
int libpeer_endpoint_send_audio(struct libpeer_endpoint *endpoint, const uint8_t *data,
				size_t size);
int libpeer_endpoint_send_video(struct libpeer_endpoint *endpoint, const uint8_t *data,
				size_t size);
int libpeer_endpoint_request_keyframe(struct libpeer_endpoint *endpoint);
void libpeer_endpoint_stop(struct libpeer_endpoint *endpoint);
void libpeer_endpoint_destroy(struct libpeer_endpoint *endpoint);
bool libpeer_endpoint_failed(const struct libpeer_endpoint *endpoint);
int libpeer_endpoint_wait_connected(struct libpeer_endpoint *endpoint, uint32_t timeout_ms);

/*
 * Wait for both endpoints to connect, then exchange and validate
 * ZEPHYRTC_ENDPOINT_AUDIO_FRAMES.
 */
int libpeer_pair_wait_connected(struct libpeer_endpoint *first, struct libpeer_endpoint *second);
int libpeer_pair_exchange_audio(struct libpeer_endpoint *first, struct libpeer_endpoint *second);

#endif /* ZEPHYRTC_ZEPHYR_ENDPOINT_H_ */
```

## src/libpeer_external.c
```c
/* SPDX-FileCopyrightText: Copyright (c) 2026 Meta Platforms, Inc. */
/* SPDX-License-Identifier: Apache-2.0 */
#include "libpeer_external.h"

#include <errno.h>
#include <stddef.h>
#include <stdint.h>
#include <string.h>
#include <zephyr/kernel.h>
#include <zephyr/net/net_if.h>
#if defined(CONFIG_WIFI)
#include <zephyr/net/net_mgmt.h>
#include <zephyr/net/wifi_mgmt.h>
#endif
#include <zephyr/sys/atomic.h>
#include <zephyr/sys/util.h>

#include "libpeer_endpoint.h"
#include "libpeer_offerer.h"
#include "media.h"
#include "media_stats_zephyr.h"
#include "platform.h"
#include "signaling_client_zephyr.h"

#define EXTERNAL_CONNECT_TIMEOUT_MS         30000U
#define EXTERNAL_MIN_PACKETS_PER_S          40U
#define EXTERNAL_AUDIO_FRAME_TOLERANCE      10U
#define EXTERNAL_MIN_VIDEO_FRAMES_PER_S     4U
#define EXTERNAL_VIDEO_KEYFRAME_INTERVAL_MS 300000U

static struct libpeer_endpoint endpoint;
static char answer[SIGNALING_ANSWER_BUFFER_BYTES];
K_THREAD_STACK_DEFINE(endpoint_stack, ZEPHYRTC_ENDPOINT_STACK_SIZE);

static void audio_received(const uint8_t *data, size_t size, void *user_data)
{
	Media *media = user_data;
	MediaFrame frame = {
		.data = data,
		.size = size,
	};

	if (media_receive(media, MEDIA_AUDIO, &frame) != 0) {
		platform_log("error", "media_receive", "status=fail size=%zu", size);
	}
}

static void video_received(const uint8_t *data, size_t size, void *user_data)
{
	Media *media = user_data;
	MediaFrame frame = {
		.data = data,
		.size = size,
	};

	int result = media_receive(media, MEDIA_VIDEO, &frame);

	if (result != 0) {
		uint8_t nal_type = size > 4U ? data[4] & 0x1fU : 0U;

		platform_log("error", "video_receive", "status=fail result=%d nal_type=%u size=%zu",
			     result, nal_type, size);
	}
}

static void keyframe_requested(void *user_data)
{
	media_request_keyframe(user_data);
}

#if defined(CONFIG_WIFI)
static int start_wifi(void)
{
	struct net_if *iface = net_if_get_default();
	const size_t ssid_length = strlen(CONFIG_ZEPHYRTC_WIFI_SSID);
	const size_t password_length = strlen(CONFIG_ZEPHYRTC_WIFI_PASSWORD);
	struct wifi_connect_req_params params = {
		.ssid = (const uint8_t *)CONFIG_ZEPHYRTC_WIFI_SSID,
		.ssid_length = ssid_length,
		.psk = (const uint8_t *)CONFIG_ZEPHYRTC_WIFI_PASSWORD,
		.psk_length = password_length,
		.channel = WIFI_CHANNEL_ANY,
		.security =
			password_length == 0U ? WIFI_SECURITY_TYPE_NONE : WIFI_SECURITY_TYPE_PSK,
		.mfp = WIFI_MFP_OPTIONAL,
	};
	int64_t deadline = k_uptime_get() + CONFIG_ZEPHYRTC_NETWORK_TIMEOUT_MS;
	int result;

	if (iface == NULL || ssid_length == 0U || ssid_length > WIFI_SSID_MAX_LEN ||
	    (password_length != 0U && (password_length < 8U || password_length > 64U))) {
		platform_log("error", "wifi_connect", "status=invalid_config");
		return -EINVAL;
	}

	do {
		result = net_mgmt(NET_REQUEST_WIFI_CONNECT, iface, &params, sizeof(params));
		if (result == 0) {
			platform_log("info", "wifi_connect", "status=requested");
			return 0;
		}
		k_sleep(K_MSEC(500));
	} while (k_uptime_get() < deadline);

	platform_log("error", "wifi_connect", "status=request_failed result=%d", result);
	return result;
}
#endif

static int wait_for_network(void)
{
	int64_t deadline = k_uptime_get() + CONFIG_ZEPHYRTC_NETWORK_TIMEOUT_MS;

	while (k_uptime_get() < deadline) {
		struct net_if *iface = net_if_get_default();
		struct net_in_addr *address = NULL;

		if (iface != NULL) {
			address = net_if_ipv4_get_global_addr(iface, NET_ADDR_PREFERRED);
		}
		if (address != NULL) {
			struct net_in_addr netmask =
				net_if_ipv4_get_netmask_by_addr(iface, address);
			struct net_in_addr gateway = net_if_ipv4_get_gw(iface);
			char address_text[NET_IPV4_ADDR_LEN];
			char netmask_text[NET_IPV4_ADDR_LEN];
			char gateway_text[NET_IPV4_ADDR_LEN];

			(void)net_addr_ntop(NET_AF_INET, address, address_text,
					    sizeof(address_text));
			(void)net_addr_ntop(NET_AF_INET, &netmask, netmask_text,
					    sizeof(netmask_text));
			(void)net_addr_ntop(NET_AF_INET, &gateway, gateway_text,
					    sizeof(gateway_text));
			platform_log("info", "network_ready",
				     "iface=%d address=%s netmask=%s gateway=%s",
				     net_if_get_by_iface(iface), address_text, netmask_text,
				     gateway_text);
			return 0;
		}
		k_sleep(K_MSEC(100));
	}
	return -ENETDOWN;
}

int libpeer_external_run(void)
{
	const MediaConfig media_config = {
		.test_sources = !IS_ENABLED(CONFIG_ZEPHYRTC_AUDIO_RT1170),
		.fake_sinks = !IS_ENABLED(CONFIG_ZEPHYRTC_AUDIO_RT1170),
		.audio_only = !IS_ENABLED(CONFIG_ZEPHYRTC_VIDEO_H264),
	};
	const struct libpeer_offerer_config offerer_config = {
		.url = CONFIG_ZEPHYRTC_SIGNALING_URL,
		.timeout_ms = CONFIG_ZEPHYRTC_SIGNALING_TIMEOUT_MS,
	};
	const uint64_t minimum_frames =
		(uint64_t)CONFIG_ZEPHYRTC_EXTERNAL_RUN_MS * EXTERNAL_MIN_PACKETS_PER_S / 1000U;
	const uint64_t minimum_received_frames = minimum_frames - EXTERNAL_AUDIO_FRAME_TOLERANCE;
	const uint64_t minimum_video_frames =
		(uint64_t)CONFIG_ZEPHYRTC_EXTERNAL_RUN_MS * EXTERNAL_MIN_VIDEO_FRAMES_PER_S / 1000U;
	uint64_t submitted = 0U;
	uint64_t submitted_video = 0U;
	uint64_t delivered = 0U;
	uint64_t delivered_video = 0U;
	uint64_t deadline;
	uint64_t next_video_keyframe_request = UINT64_MAX;
	bool stack_initialized = false;
	Media *media = NULL;
	int result = -EIO;

#if defined(CONFIG_WIFI)
	result = start_wifi();
	if (result != 0) {
		goto cleanup;
	}
#endif
	result = wait_for_network();
	if (result != 0) {
		goto cleanup;
	}
	if (libpeer_stack_init() != 0) {
		goto cleanup;
	}
	stack_initialized = true;
	result = libpeer_endpoint_init(&endpoint, "external", 0U, 0U, false,
				       IS_ENABLED(CONFIG_ZEPHYRTC_VIDEO_H264));
	if (result != 0) {
		goto cleanup;
	}
	media = media_create(&media_config);
	if (media == NULL) {
		result = -ENOMEM;
		goto cleanup;
	}
	result = libpeer_endpoint_set_audio_sink(&endpoint, audio_received, media);
	if (result != 0) {
		goto cleanup;
	}
	if (media_enabled(media, MEDIA_VIDEO)) {
		result = libpeer_endpoint_set_video_sink(&endpoint, video_received,
							 keyframe_requested, media);
		if (result != 0) {
			goto cleanup;
		}
	}
	result = libpeer_offerer_negotiate(&endpoint, &offerer_config, answer, sizeof(answer));
	if (result != 0) {
		goto cleanup;
	}
	result = libpeer_endpoint_start(&endpoint, endpoint_stack,
					K_THREAD_STACK_SIZEOF(endpoint_stack));
	if (result != 0) {
		goto cleanup;
	}
	result = libpeer_endpoint_wait_connected(&endpoint, EXTERNAL_CONNECT_TIMEOUT_MS);
	if (result != 0) {
		goto cleanup;
	}

	if (media_start(media) != 0) {
		result = -EIO;
		goto cleanup;
	}
	deadline = platform_now_ms() + CONFIG_ZEPHYRTC_EXTERNAL_RUN_MS;
	if (media_enabled(media, MEDIA_VIDEO)) {
		next_video_keyframe_request =
			platform_now_ms() + EXTERNAL_VIDEO_KEYFRAME_INTERVAL_MS;
	}
	while (platform_now_ms() < deadline) {
		bool submitted_any = false;

		int media_result = media_poll(media);
		bool endpoint_failed = libpeer_endpoint_failed(&endpoint);

		if (media_result != 0 || endpoint_failed) {
			platform_log("error", "external_loop",
				     "status=fail media_result=%d endpoint_failed=%u state=%s",
				     media_result, endpoint_failed,
				     peer_connection_state_to_string(
					     peer_connection_get_state(endpoint.connection)));
			result = -EIO;
			goto cleanup;
		}
		if (media_take_keyframe_request(media)) {
			result = libpeer_endpoint_request_keyframe(&endpoint);
			platform_log(result == 0 ? "info" : "error", "video_keyframe_request",
				     "reason=decoder_failure status=%s result=%d",
				     result == 0 ? "sent" : "fail", result);
			if (result != 0) {
				goto cleanup;
			}
		}
		if (platform_now_ms() >= next_video_keyframe_request) {
			result = libpeer_endpoint_request_keyframe(&endpoint);
			platform_log(result == 0 ? "info" : "error", "video_keyframe_request",
				     "reason=periodic status=%s result=%d",
				     result == 0 ? "sent" : "fail", result);
			if (result != 0) {
				goto cleanup;
			}
			next_video_keyframe_request += EXTERNAL_VIDEO_KEYFRAME_INTERVAL_MS;
		}
		for (int kind = MEDIA_AUDIO; kind <= MEDIA_VIDEO; kind++) {
			MediaFrame frame;

			if (!media_enabled(media, (MediaKind)kind) ||
			    !media_pull(media, (MediaKind)kind, &frame)) {
				continue;
			}
			result = kind == MEDIA_AUDIO
					 ? libpeer_endpoint_send_audio(&endpoint, frame.data,
								       frame.size)
					 : libpeer_endpoint_send_video(&endpoint, frame.data,
								       frame.size);
			media_release(media, (MediaKind)kind);
			if (result != 0) {
				platform_log("error", "external_send", "kind=%s result=%d",
					     kind == MEDIA_AUDIO ? "audio" : "video", result);
				goto cleanup;
			}
			if (kind == MEDIA_AUDIO) {
				submitted++;
			} else {
				submitted_video++;
			}
			submitted_any = true;
		}
		if (!submitted_any) {
			platform_sleep_ms(1U);
		}
	}

	libpeer_endpoint_stop(&endpoint);
	result = media_zephyr_quiesce();
	if (result != 0) {
		goto cleanup;
	}
	delivered = media_decoded(media, MEDIA_AUDIO);
	delivered_video = media_decoded(media, MEDIA_VIDEO);
	result = submitted >= minimum_frames && delivered >= minimum_received_frames &&
				 atomic_get(&endpoint.received_frames) >=
					 (atomic_val_t)minimum_received_frames &&
				 atomic_get(&endpoint.invalid_frames) == 0 &&
				 media_zephyr_late_audio() == 0U &&
				 (!media_enabled(media, MEDIA_VIDEO) ||
				  (submitted_video >= minimum_video_frames &&
				   delivered_video >= minimum_video_frames &&
				   atomic_get(&endpoint.received_video_nalus) > 0))
			 ? 0
			 : -ENODATA;

cleanup:
	libpeer_endpoint_destroy(&endpoint);
	if (media != NULL) {
		int destroy_result = media_destroy(media);

		if (result == 0 && destroy_result != 0) {
			result = destroy_result;
		}
	}
	if (stack_initialized) {
		libpeer_stack_deinit();
	}
	platform_log(result == 0 ? "info" : "error", "external_result",
		     "status=%s result=%d submitted=%llu received=%ld delivered=%llu "
		     "invalid=%ld send_failures=%ld submitted_video=%llu "
		     "received_video_nalus=%ld "
		     "delivered_video=%llu",
		     result == 0 ? "pass" : "fail", result, (unsigned long long)submitted,
		     (long)atomic_get(&endpoint.received_frames), (unsigned long long)delivered,
		     (long)atomic_get(&endpoint.invalid_frames),
		     (long)atomic_get(&endpoint.send_failures), (unsigned long long)submitted_video,
		     (long)atomic_get(&endpoint.received_video_nalus),
		     (unsigned long long)delivered_video);
	return result;
}
```
